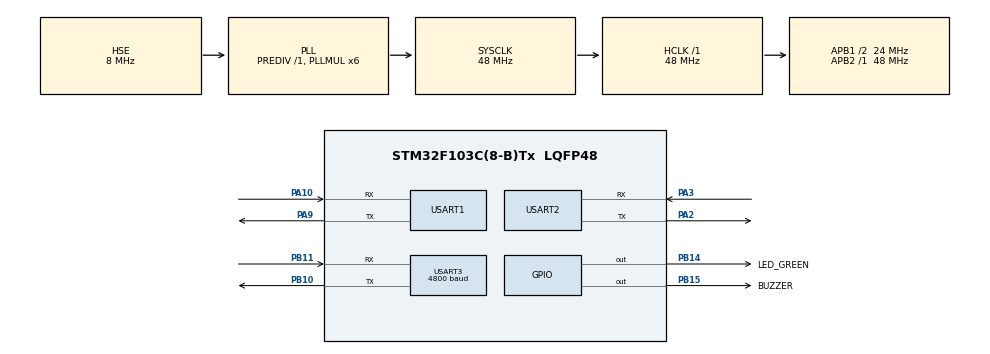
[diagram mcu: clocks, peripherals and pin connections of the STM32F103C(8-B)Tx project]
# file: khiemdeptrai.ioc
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Dma.Request0=USART3_RX
Dma.Request1=USART2_RX
Dma.Request2=USART1_RX
Dma.USART1_RX.2.Direction=DMA_PERIPH_TO_MEMORY
Dma.USART1_RX.2.Instance=DMA1_Channel5
Dma.USART1_RX.2.MemDataAlignment=DMA_MDATAALIGN_BYTE
Dma.USART1_RX.2.MemInc=DMA_MINC_ENABLE
Dma.USART1_RX.2.Mode=DMA_CIRCULAR
Dma.USART1_RX.2.PeriphDataAlignment=DMA_PDATAALIGN_BYTE
Dma.USART1_RX.2.PeriphInc=DMA_PINC_DISABLE
Dma.USART1_RX.2.Priority=DMA_PRIORITY_MEDIUM
Dma.USART2_RX.1.Direction=DMA_PERIPH_TO_MEMORY
Dma.USART2_RX.1.Instance=DMA1_Channel6
Dma.USART2_RX.1.MemDataAlignment=DMA_MDATAALIGN_BYTE
Dma.USART2_RX.1.MemInc=DMA_MINC_ENABLE
Dma.USART2_RX.1.Mode=DMA_CIRCULAR
Dma.USART2_RX.1.PeriphDataAlignment=DMA_PDATAALIGN_BYTE
Dma.USART2_RX.1.PeriphInc=DMA_PINC_DISABLE
Dma.USART2_RX.1.Priority=DMA_PRIORITY_LOW
Dma.USART3_RX.0.Direction=DMA_PERIPH_TO_MEMORY
Dma.USART3_RX.0.Instance=DMA1_Channel3
Dma.USART3_RX.0.MemDataAlignment=DMA_MDATAALIGN_BYTE
Dma.USART3_RX.0.MemInc=DMA_MINC_ENABLE
Dma.USART3_RX.0.Mode=DMA_CIRCULAR
Dma.USART3_RX.0.PeriphDataAlignment=DMA_PDATAALIGN_BYTE
Dma.USART3_RX.0.PeriphInc=DMA_PINC_DISABLE
Dma.USART3_RX.0.Priority=DMA_PRIORITY_MEDIUM
FREERTOS.Tasks01=defaultTask,0,128,StartDefaultTask,Default,NULL
Mcu.Family=STM32F1
Mcu.Name=STM32F103C(8-B)Tx
Mcu.Package=LQFP48
NVIC.DMA1_Channel3_IRQn=true\:5\:0\:false\:false\:true\:true
NVIC.DMA1_Channel5_IRQn=true\:5\:0\:false\:false\:true\:true
NVIC.DMA1_Channel6_IRQn=true\:5\:0\:false\:false\:true\:true
NVIC.PriorityGroup=NVIC_PRIORITYGROUP_4
NVIC.TIM1_UP_IRQn=true\:0\:0\:false\:false\:true\:false
NVIC.TimeBase=TIM1_UP_IRQn
NVIC.TimeBaseIP=TIM1
PA10.Mode=Asynchronous
PA10.Signal=USART1_RX
PA13.Mode=Serial_Wire
PA13.Signal=SYS_JTMS-SWDIO
PA14.Mode=Serial_Wire
PA14.Signal=SYS_JTCK-SWCLK
PA2.Mode=Asynchronous
PA2.Signal=USART2_TX
PA3.Mode=Asynchronous
PA3.Signal=USART2_RX
PA9.Mode=Asynchronous
PA9.Signal=USART1_TX
PB10.Mode=Asynchronous
PB10.Signal=USART3_TX
PB11.Mode=Asynchronous
PB11.Signal=USART3_RX
PB14.GPIO_Label=LED_GREEN
PB14.Signal=GPIO_Output
PB15.GPIO_Label=BUZZER
PB15.Signal=GPIO_Output
PD0-OSC_IN.Mode=HSE-External-Oscillator
PD0-OSC_IN.Signal=RCC_OSC_IN
PD1-OSC_OUT.Mode=HSE-External-Oscillator
PD1-OSC_OUT.Signal=RCC_OSC_OUT
ProjectManager.HeapSize=0x200
ProjectManager.StackSize=0x400
ProjectManager.TargetToolchain=MDK-ARM V5
RCC.AHBFreq_Value=48000000
RCC.APB1CLKDivider=RCC_HCLK_DIV2
RCC.APB1Freq_Value=24000000
RCC.APB1TimFreq_Value=48000000
RCC.APB2Freq_Value=48000000
RCC.APB2TimFreq_Value=48000000
RCC.HCLKFreq_Value=48000000
RCC.PLLMUL=RCC_PLL_MUL6
RCC.PLLSourceVirtual=RCC_PLLSOURCE_HSE
RCC.SYSCLKFreq_VALUE=48000000
RCC.SYSCLKSource=RCC_SYSCLKSOURCE_PLLCLK
RCC.USBFreq_Value=48000000
USART1.VirtualMode=VM_ASYNC
USART2.VirtualMode=VM_ASYNC
USART3.BaudRate=4800
USART3.VirtualMode=VM_ASYNC
VP_FREERTOS_VS_ENABLE.Mode=Enabled
VP_RTC_VS_RTC_Activate.Mode=RTC_Enabled
VP_SYS_VS_tim1.Mode=TIM1
board=khiemdeptrai

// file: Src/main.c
/**
  ******************************************************************************
  * File Name          : main.c
  * Description        : Main program body
  ******************************************************************************
  * This notice applies to any and all portions of this file
  * that are not between comment pairs USER CODE BEGIN and
  * USER CODE END. Other portions of this file, whether
  * inserted by the user or by software development tools
  * are owned by their respective copyright owners.
  *
  * Copyright (c) 2017 STMicroelectronics International N.V.
  * All rights reserved.
  *
  * Redistribution and use in source and binary forms, with or without
  * modification, are permitted, provided that the following conditions are met:
  *
  * 1. Redistribution of source code must retain the above copyright notice,
  *    this list of conditions and the following disclaimer.
  * 2. Redistributions in binary form must reproduce the above copyright notice,
  *    this list of conditions and the following disclaimer in the documentation
  *    and/or other materials provided with the distribution.
  * 3. Neither the name of STMicroelectronics nor the names of other
  *    contributors to this software may be used to endorse or promote products
  *    derived from this software without specific written permission.
  * 4. This software, including modifications and/or derivative works of this
  *    software, must execute solely and exclusively on microcontroller or
  *    microprocessor devices manufactured by or for STMicroelectronics.
  * 5. Redistribution and use of this software other than as permitted under
  *    this license is void and will automatically terminate your rights under
  *    this license.
  *
  * THIS SOFTWARE IS PROVIDED BY STMICROELECTRONICS AND CONTRIBUTORS "AS IS"
  * AND ANY EXPRESS, IMPLIED OR STATUTORY WARRANTIES, INCLUDING, BUT NOT
  * LIMITED TO, THE IMPLIED WARRANTIES OF MERCHANTABILITY, FITNESS FOR A
  * PARTICULAR PURPOSE AND NON-INFRINGEMENT OF THIRD PARTY INTELLECTUAL PROPERTY
  * RIGHTS ARE DISCLAIMED TO THE FULLEST EXTENT PERMITTED BY LAW. IN NO EVENT
  * SHALL STMICROELECTRONICS OR CONTRIBUTORS BE LIABLE FOR ANY DIRECT, INDIRECT,
  * INCIDENTAL, SPECIAL, EXEMPLARY, OR CONSEQUENTIAL DAMAGES (INCLUDING, BUT NOT
  * LIMITED TO, PROCUREMENT OF SUBSTITUTE GOODS OR SERVICES; LOSS OF USE, DATA,
  * OR PROFITS; OR BUSINESS INTERRUPTION) HOWEVER CAUSED AND ON ANY THEORY OF
  * LIABILITY, WHETHER IN CONTRACT, STRICT LIABILITY, OR TORT (INCLUDING
  * NEGLIGENCE OR OTHERWISE) ARISING IN ANY WAY OUT OF THE USE OF THIS SOFTWARE,
  * EVEN IF ADVISED OF THE POSSIBILITY OF SUCH DAMAGE.
  *
  ******************************************************************************
  */
#include "main.h"
#include "stm32f1xx_hal.h"
#include "cmsis_os.h"

/* USER CODE BEGIN Includes */
#include "VTimer.h"
#include "UART.h"
#include "string.h"
/* USER CODE END Includes */

RTC_HandleTypeDef hrtc;

UART_HandleTypeDef huart1;
UART_HandleTypeDef huart2;
UART_HandleTypeDef huart3;
DMA_HandleTypeDef hdma_usart1_rx;
DMA_HandleTypeDef hdma_usart2_rx;
DMA_HandleTypeDef hdma_usart3_rx;

osThreadId defaultTaskHandle;

/* USER CODE BEGIN PV */
/* Private variables ---------------------------------------------------------*/
uint8_t buffer[20];

/* USER CODE END PV */

void SystemClock_Config(void);
static void MX_GPIO_Init(void);
static void MX_DMA_Init(void);
static void MX_USART2_UART_Init(void);
static void MX_USART3_UART_Init(void);
static void MX_USART1_UART_Init(void);
static void MX_RTC_Init(void);
void StartDefaultTask(void const * argument);

/* USER CODE BEGIN PFP */
/* Private function prototypes -----------------------------------------------*/
/* USER CODE END PFP */

int main(void)
{

  /* MCU Configuration----------------------------------------------------------*/

  /* Reset of all peripherals, Initializes the Flash interface and the Systick. */
  HAL_Init();

  /* Configure the system clock */
  SystemClock_Config();

  /* Initialize all configured peripherals */
  MX_GPIO_Init();
  MX_DMA_Init();
  MX_USART2_UART_Init();
  MX_USART3_UART_Init();
  MX_USART1_UART_Init();
  MX_RTC_Init();

  /* USER CODE BEGIN 2 */

	UART_init(&huart2);
	UART_init(&huart3);
	UART_RingBuffInit(&huart2);
	UART_RingBuffInit(&huart3);
  VTimerInitController();
	UART_sendString(&huart2,"Hello world\r\n");

  /* USER CODE END 2 */

  /* Create the thread(s) */
  /* definition and creation of defaultTask */
  osThreadDef(defaultTask, StartDefaultTask, osPriorityNormal, 0, 128);
  defaultTaskHandle = osThreadCreate(osThread(defaultTask), NULL);

  /* Start scheduler */
  osKernelStart();

  /* We should never get here as control is now taken by the scheduler */

  /* Infinite loop */
  while (1)
  {

  /* USER CODE BEGIN 3 */

	DelayMs(200);
  }

  /* USER CODE END 3 */

}

/** System Clock Configuration
*/
void SystemClock_Config(void)
{

  RCC_OscInitTypeDef RCC_OscInitStruct;
  RCC_ClkInitTypeDef RCC_ClkInitStruct;
  RCC_PeriphCLKInitTypeDef PeriphClkInit;

    /**Initializes the CPU, AHB and APB busses clocks
    */
  RCC_OscInitStruct.OscillatorType = RCC_OSCILLATORTYPE_LSI|RCC_OSCILLATORTYPE_HSE;
  RCC_OscInitStruct.HSEState = RCC_HSE_ON;
  RCC_OscInitStruct.HSEPredivValue = RCC_HSE_PREDIV_DIV1;
  RCC_OscInitStruct.HSIState = RCC_HSI_ON;
  RCC_OscInitStruct.LSIState = RCC_LSI_ON;
  RCC_OscInitStruct.PLL.PLLState = RCC_PLL_ON;
  RCC_OscInitStruct.PLL.PLLSource = RCC_PLLSOURCE_HSE;
  RCC_OscInitStruct.PLL.PLLMUL = RCC_PLL_MUL6;
  if (HAL_RCC_OscConfig(&RCC_OscInitStruct) != HAL_OK)
  {
    _Error_Handler(__FILE__, __LINE__);
  }

    /**Initializes the CPU, AHB and APB busses clocks
    */
  RCC_ClkInitStruct.ClockType = RCC_CLOCKTYPE_HCLK|RCC_CLOCKTYPE_SYSCLK
                              |RCC_CLOCKTYPE_PCLK1|RCC_CLOCKTYPE_PCLK2;
  RCC_ClkInitStruct.SYSCLKSource = RCC_SYSCLKSOURCE_PLLCLK;
  RCC_ClkInitStruct.AHBCLKDivider = RCC_SYSCLK_DIV1;
  RCC_ClkInitStruct.APB1CLKDivider = RCC_HCLK_DIV2;
  RCC_ClkInitStruct.APB2CLKDivider = RCC_HCLK_DIV1;

  if (HAL_RCC_ClockConfig(&RCC_ClkInitStruct, FLASH_LATENCY_1) != HAL_OK)
  {
    _Error_Handler(__FILE__, __LINE__);
  }

  PeriphClkInit.PeriphClockSelection = RCC_PERIPHCLK_RTC;
  PeriphClkInit.RTCClockSelection = RCC_RTCCLKSOURCE_LSI;
  if (HAL_RCCEx_PeriphCLKConfig(&PeriphClkInit) != HAL_OK)
  {
    _Error_Handler(__FILE__, __LINE__);
  }

    /**Configure the Systick interrupt time
    */
  HAL_SYSTICK_Config(HAL_RCC_GetHCLKFreq()/1000);

    /**Configure the Systick
    */
  HAL_SYSTICK_CLKSourceConfig(SYSTICK_CLKSOURCE_HCLK);

  /* SysTick_IRQn interrupt configuration */
  HAL_NVIC_SetPriority(SysTick_IRQn, 15, 0);
}

/* RTC init function */
static void MX_RTC_Init(void)
{

    /**Initialize RTC Only
    */
  hrtc.Instance = RTC;
  hrtc.Init.AsynchPrediv = RTC_AUTO_1_SECOND;
  hrtc.Init.OutPut = RTC_OUTPUTSOURCE_ALARM;
  if (HAL_RTC_Init(&hrtc) != HAL_OK)
  {
    _Error_Handler(__FILE__, __LINE__);
  }

}

/* USART1 init function */
static void MX_USART1_UART_Init(void)
{

  huart1.Instance = USART1;
  huart1.Init.BaudRate = 115200;
  huart1.Init.WordLength = UART_WORDLENGTH_8B;
  huart1.Init.StopBits = UART_STOPBITS_1;
  huart1.Init.Parity = UART_PARITY_NONE;
  huart1.Init.Mode = UART_MODE_TX_RX;
  huart1.Init.HwFlowCtl = UART_HWCONTROL_NONE;
  huart1.Init.OverSampling = UART_OVERSAMPLING_16;
  if (HAL_UART_Init(&huart1) != HAL_OK)
  {
    _Error_Handler(__FILE__, __LINE__);
  }

}

/* USART2 init function */
static void MX_USART2_UART_Init(void)
{

  huart2.Instance = USART2;
  huart2.Init.BaudRate = 115200;
  huart2.Init.WordLength = UART_WORDLENGTH_8B;
  huart2.Init.StopBits = UART_STOPBITS_1;
  huart2.Init.Parity = UART_PARITY_NONE;
  huart2.Init.Mode = UART_MODE_TX_RX;
  huart2.Init.HwFlowCtl = UART_HWCONTROL_NONE;
  huart2.Init.OverSampling = UART_OVERSAMPLING_16;
  if (HAL_UART_Init(&huart2) != HAL_OK)
  {
    _Error_Handler(__FILE__, __LINE__);
  }

}

/* USART3 init function */
static void MX_USART3_UART_Init(void)
{

  huart3.Instance = USART3;
  huart3.Init.BaudRate = 4800;
  huart3.Init.WordLength = UART_WORDLENGTH_8B;
  huart3.Init.StopBits = UART_STOPBITS_1;
  huart3.Init.Parity = UART_PARITY_NONE;
  huart3.Init.Mode = UART_MODE_TX_RX;
  huart3.Init.HwFlowCtl = UART_HWCONTROL_NONE;
  huart3.Init.OverSampling = UART_OVERSAMPLING_16;
  if (HAL_UART_Init(&huart3) != HAL_OK)
  {
    _Error_Handler(__FILE__, __LINE__);
  }

}

static void MX_DMA_Init(void)
{
  /* DMA controller clock enable */
  __HAL_RCC_DMA1_CLK_ENABLE();

  /* DMA interrupt init */
  /* DMA1_Channel3_IRQn interrupt configuration */
  HAL_NVIC_SetPriority(DMA1_Channel3_IRQn, 5, 0);
  HAL_NVIC_EnableIRQ(DMA1_Channel3_IRQn);
  /* DMA1_Channel5_IRQn interrupt configuration */
  HAL_NVIC_SetPriority(DMA1_Channel5_IRQn, 5, 0);
  HAL_NVIC_EnableIRQ(DMA1_Channel5_IRQn);
  /* DMA1_Channel6_IRQn interrupt configuration */
  HAL_NVIC_SetPriority(DMA1_Channel6_IRQn, 5, 0);
  HAL_NVIC_EnableIRQ(DMA1_Channel6_IRQn);

}

/** Configure pins as
        * Analog
        * Input
        * Output
        * EVENT_OUT
        * EXTI
*/
static void MX_GPIO_Init(void)
{

  GPIO_InitTypeDef GPIO_InitStruct;

  /* GPIO Ports Clock Enable */
  __HAL_RCC_GPIOD_CLK_ENABLE();
  __HAL_RCC_GPIOA_CLK_ENABLE();
  __HAL_RCC_GPIOB_CLK_ENABLE();

  /*Configure GPIO pin Output Level */
  HAL_GPIO_WritePin(GPIOB, LED_GREEN_Pin|BUZZER_Pin, GPIO_PIN_RESET);

  /*Configure GPIO pins : LED_GREEN_Pin BUZZER_Pin */
  GPIO_InitStruct.Pin = LED_GREEN_Pin|BUZZER_Pin;
  GPIO_InitStruct.Mode = GPIO_MODE_OUTPUT_PP;
  GPIO_InitStruct.Speed = GPIO_SPEED_FREQ_LOW;
  HAL_GPIO_Init(GPIOB, &GPIO_InitStruct);

}

/* StartDefaultTask function */
void StartDefaultTask(void const * argument)
{

  /* USER CODE BEGIN 5 */
  /* Infinite loop */
  for(;;)
  {
	if(UART_RingBuffAvailable(&huart2))
  	{
		 printf("Get here\r\n");
	   UART_RingBuffGetData(&huart2,buffer,10);
		 printf("%s",buffer);
	  }
    osDelay(100);
  }
  /* USER CODE END 5 */
}

void HAL_TIM_PeriodElapsedCallback(TIM_HandleTypeDef *htim)
{
  if (htim->Instance == TIM1) {
    HAL_IncTick();
  }
/* USER CODE BEGIN Callback 1 */
	VTimerService();
/* USER CODE END Callback 1 */
}

void _Error_Handler(char * file, int line)
{
  while(1)
  {
  }
}

/************************ (C) COPYRIGHT STMicroelectronics *****END OF FILE****/
